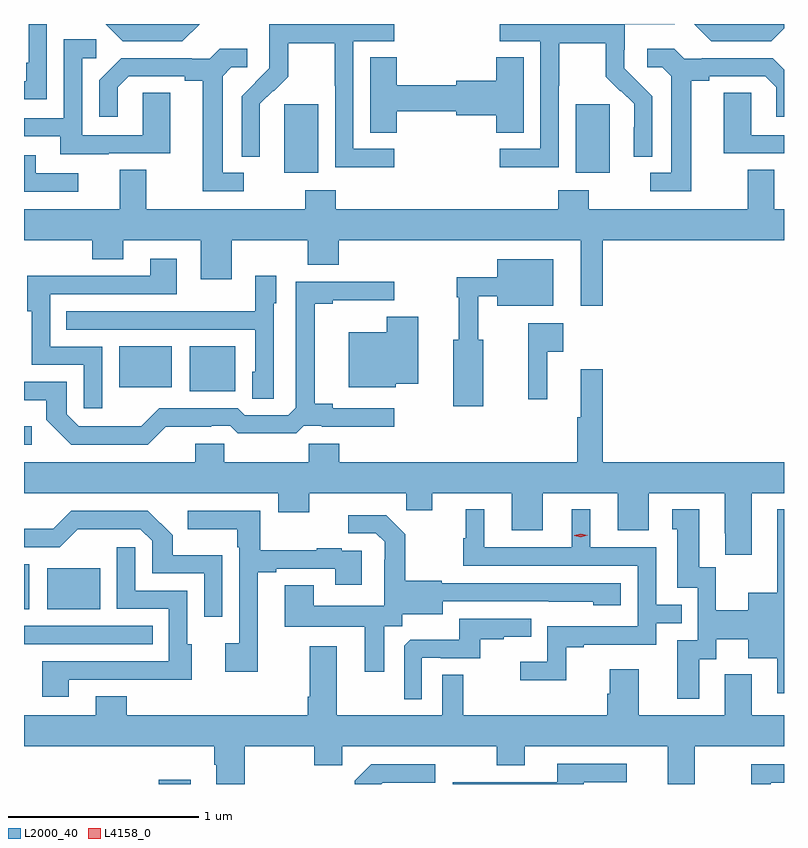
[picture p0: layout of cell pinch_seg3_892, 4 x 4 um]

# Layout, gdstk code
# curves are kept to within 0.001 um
import gdstk
lib = gdstk.Library(unit=1e-6, precision=1e-09)
def R(c, l, rs):  # rectangles x0, y0, x1, y1
    for r in rs: c.add(gdstk.rectangle(r[:2], r[2:], *l))
def P(c, l, *ps):  # polygons
    for p in ps: c.add(gdstk.Polygon(p, *l))
L2000_40 = (2000, 40)
L4158_0 = (4158, 0)

pinch_seg3_892 = lib.new_cell('pinch_seg3_892')
R(pinch_seg3_892, L2000_40, [(855.992,694.058,856.159,694.081), (855.282,694.794,855.959,694.89), (855.282,694.979,855.31,695.215), (855.404,694.979,855.682,695.194), (855.282,695.844,855.322,695.941), (856.154,696.125,856.393,696.361), (855.782,696.146,856.06,696.361), (856.652,697.274,856.831,697.635), (858.185,697.274,858.364,697.635)])
P(pinch_seg3_892, L2000_40, [(857.23,697.401),(857.016,697.401),(857.016,697.968),(857.23,697.968),(857.23,698.058),(856.309,698.058),(856.572,698.057),(856.572,697.923),(856.574,697.923),(856.574,697.826),(856.428,697.678),(856.428,697.36),(856.524,697.36),(856.523,697.637),(856.593,697.707),(856.596,697.704),(856.673,697.781),(856.673,697.956),(856.918,697.956),(856.918,697.732),(856.92,697.732),(856.92,697.303),(857.23,697.303)],
  [(856.206,698.058),(855.711,698.058),(855.801,697.968),(856.116,697.968)],
  [(855.402,698.058),(855.306,698.058),(855.306,697.855),(855.293,697.855),(855.293,697.758),(855.282,697.758),(855.282,697.662),(855.402,697.662)],
  [(858.096,697.732),(858.099,697.732),(858.099,697.956),(858.343,697.956),(858.343,697.781),(858.42,697.704),(858.423,697.707),(858.494,697.637),(858.494,697.514),(858.492,697.514),(858.492,697.36),(858.588,697.36),(858.588,697.678),(858.442,697.826),(858.442,697.923),(858.444,697.923),(858.444,698.057),(858.707,698.058),(857.787,698.058),(857.787,697.968),(858,697.968),(858,697.401),(857.787,697.401),(857.787,697.303),(858.096,697.303)],
  [(859.282,698.035),(859.282,698.058),(858.81,698.058),(858.9,697.968),(859.215,697.968)],
  [(855.727,697.377),(856.051,697.377),(856.051,697.697),(855.906,697.697),(855.906,697.473),(855.588,697.473),(855.588,697.878),(855.661,697.878),(855.661,697.979),(855.492,697.979),(855.492,697.563),(855.282,697.563),(855.282,697.467),(855.473,697.467),(855.473,697.373),(855.727,697.373)],
  [(858.793,697.76),(858.889,697.76),(858.889,697.782),(859.184,697.782),(859.241,697.725),(859.241,697.569),(859.282,697.569),(859.282,697.818),(859.222,697.878),(858.85,697.878),(858.85,697.875),(858.756,697.875),(858.704,697.927),(858.561,697.927),(858.561,697.83),(858.642,697.83),(858.689,697.783),(858.689,697.275),(858.579,697.275),(858.579,697.179),(858.793,697.179)],
  [(856.438,697.275),(856.327,697.275),(856.327,697.783),(856.374,697.83),(856.456,697.83),(856.456,697.927),(856.312,697.927),(856.26,697.875),(856.166,697.875),(856.166,697.878),(855.794,697.878),(855.678,697.762),(855.678,697.569),(855.775,697.569),(855.775,697.725),(855.832,697.782),(856.127,697.782),(856.127,697.76),(856.223,697.76),(856.223,697.179),(856.438,697.179)],
  [(857.244,697.6),(857.558,697.6),(857.558,697.577),(857.768,697.577),(857.768,697.486),(857.911,697.486),(857.911,697.883),(857.768,697.883),(857.768,697.76),(857.558,697.76),(857.558,697.736),(857.244,697.736),(857.244,697.883),(857.105,697.883),(857.105,697.486),(857.244,697.486)],
  [(859.282,697.473),(859.11,697.473),(859.11,697.697),(858.965,697.697),(858.965,697.377),(859.282,697.377)],
  [(855.568,697.272),(855.343,697.272),(855.343,697.368),(855.282,697.368),(855.282,697.176),(855.568,697.176)],
  [(858.329,696.92),(859.282,696.92),(859.282,697.084),(859.231,697.084),(859.231,697.292),(859.091,697.292),(859.091,697.084),(858.255,697.084),(858.255,697.183),(858.095,697.183),(858.095,697.084),(856.922,697.084),(856.922,697.183),(856.762,697.183),(856.762,697.084),(855.925,697.084),(855.925,697.292),(855.785,697.292),(855.785,697.084),(855.282,697.084),(855.282,696.92),(855.641,696.92),(855.641,696.821),(855.805,696.821),(855.805,696.92),(856.211,696.92),(856.211,696.714),(856.375,696.714),(856.375,696.92),(856.775,696.92),(856.775,696.792),(856.939,696.792),(856.939,696.92),(858.212,696.92),(858.212,696.576),(858.329,696.576)],
  [(855.693,696.36),(855.42,696.36),(855.42,696.636),(856.087,696.636),(856.087,696.823),(855.947,696.823),(855.947,696.732),(855.517,696.732),(855.517,696.734),(855.299,696.734),(855.299,696.546),(855.324,696.546),(855.324,696.264),(855.597,696.264),(855.597,696.036),(855.693,696.036)],
  [(857.698,696.397),(857.672,696.397),(857.672,696.625),(857.774,696.625),(857.774,696.575),(858.067,696.575),(858.067,696.82),(857.774,696.82),(857.774,696.725),(857.559,696.725),(857.559,696.62),(857.57,696.62),(857.57,696.397),(857.54,696.397),(857.54,696.045),(857.698,696.045)],
  [(856.596,696.588),(856.609,696.588),(856.609,696.733),(856.5,696.733),(856.5,696.547),(856.183,696.547),(856.183,696.546),(855.505,696.546),(855.505,696.45),(856.5,696.45),(856.5,696.228),(856.484,696.228),(856.484,696.085),(856.596,696.085)],
  [(856.028,695.939),(856.268,695.939),(856.268,695.943),(856.368,695.943),(856.408,695.904),(856.715,695.904),(856.755,695.943),(856.849,695.943),(856.849,695.939),(857.23,695.939),(857.23,696.036),(856.906,696.036),(856.906,696.059),(856.811,696.059),(856.811,696.586),(856.906,696.586),(856.906,696.605),(857.23,696.605),(857.23,696.702),(856.713,696.702),(856.713,696.039),(856.674,696),(856.443,696),(856.407,696.036),(855.993,696.036),(855.899,695.942),(855.794,695.942),(855.794,695.94),(855.57,695.94),(855.507,696.003),(855.507,696.174),(855.282,696.174),(855.282,696.077),(855.4,696.077),(855.4,695.975),(855.53,695.844),(855.933,695.844)],
  [(857.238,696.164),(857.356,696.164),(857.356,696.517),(857.191,696.517),(857.191,696.436),(856.991,696.436),(856.991,696.146),(857.238,696.146)],
  [(858.035,696.332),(858.121,696.332),(858.121,696.484),(857.935,696.484),(857.935,696.084),(858.035,696.084)],
  [(858.212,696.241),(858.212,695.988),(858.193,695.988),(858.193,695.752),(856.94,695.752),(856.94,695.85),(856.78,695.85),(856.78,695.752),(856.335,695.752),(856.335,695.85),(856.184,695.85),(856.184,695.752),(855.282,695.752),(855.282,695.588),(856.619,695.588),(856.619,695.489),(856.783,695.489),(856.783,695.588),(857.293,695.588),(857.293,695.498),(857.431,695.498),(857.431,695.588),(857.849,695.588),(857.849,695.394),(858.013,695.394),(858.013,695.588),(858.407,695.588),(858.407,695.394),(858.571,695.394),(858.571,695.588),(858.971,695.588),(858.971,695.377),(858.972,695.377),(858.972,695.265),(859.111,695.265),(859.111,695.588),(859.282,695.588),(859.282,695.752),(858.329,695.752),(858.329,696.241)],
  [(858.135,694.779),(858.229,694.779),(858.229,694.791),(858.609,694.791),(858.609,694.905),(858.743,694.905),(858.743,695.001),(858.609,695.001),(858.609,695.304),(858.262,695.304),(858.262,695.503),(858.164,695.503),(858.164,695.304),(857.704,695.304),(857.704,695.503),(857.606,695.503),(857.606,695.352),(857.595,695.352),(857.595,695.208),(858.513,695.208),(858.513,694.887),(858.036,694.887),(858.036,694.702),(857.895,694.702),(857.895,694.604),(858.135,694.604)],
  [(858.835,694.714),(858.925,694.714),(858.925,694.82),(859.094,694.82),(859.094,694.721),(859.247,694.721),(859.247,694.536),(859.282,694.536),(859.282,695.503),(859.247,695.503),(859.247,695.065),(859.094,695.065),(859.094,694.972),(858.924,694.972),(858.924,695.199),(858.835,695.199),(858.835,695.503),(858.695,695.503),(858.695,695.4),(858.719,695.4),(858.719,695.091),(858.828,695.091),(858.828,694.815),(858.719,694.815),(858.719,694.506),(858.835,694.506)],
  [(856.513,695.172),(856.609,695.172),(856.609,695.19),(856.919,695.19),(856.919,695.106),(857.059,695.106),(857.059,695.286),(856.955,695.286),(856.955,695.299),(856.823,695.299),(856.823,695.288),(856.525,695.288),(856.525,695.496),(856.143,695.496),(856.143,695.399),(856.404,695.399),(856.404,695.303),(856.416,695.303),(856.416,694.798),(856.341,694.798),(856.341,694.65),(856.513,694.65)],
  [(856.326,695.263),(856.065,695.263),(856.065,695.366),(855.934,695.496),(855.531,695.496),(855.437,695.402),(855.282,695.402),(855.282,695.304),(855.471,695.304),(855.566,695.399),(855.894,695.4),(855.957,695.337),(855.957,695.166),(856.23,695.166),(856.23,694.938),(856.326,694.938)],
  [(857.179,694.888),(857.274,694.888),(857.274,694.952),(857.485,694.952),(857.485,695.019),(858.279,695.018),(858.279,695),(858.424,695),(858.424,695.115),(857.481,695.115),(857.481,695.128),(857.289,695.128),(857.289,695.373),(857.189,695.473),(856.989,695.473),(856.989,695.379),(857.133,695.379),(857.18,695.332),(857.18,695.237),(857.178,695.237),(857.178,694.996),(856.807,694.996),(856.807,695.105),(856.655,695.105),(856.655,694.886),(857.075,694.886),(857.075,694.65),(857.179,694.65)],
  [(855.517,694.608),(855.947,694.608),(855.947,694.607),(856.165,694.607),(856.165,694.794),(856.14,694.794),(856.14,695.076),(855.867,695.076),(855.867,695.305),(855.771,695.305),(855.771,694.98),(856.044,694.98),(856.044,694.704),(855.377,694.704),(855.377,694.518),(855.517,694.518)],
  [(857.376,694.722),(857.476,694.722),(857.476,694.719),(857.684,694.719),(857.684,694.821),(857.807,694.821),(857.807,694.832),(857.951,694.832),(857.951,694.929),(857.574,694.929),(857.574,694.817),(857.315,694.817),(857.283,694.785),(857.283,694.505),(857.376,694.505)],
  [(856.443,694.256),(856.81,694.256),(856.81,694.157),(856.956,694.157),(856.956,694.256),(857.77,694.256),(857.77,694.157),(857.917,694.157),(857.917,694.256),(858.671,694.256),(858.671,694.058),(858.811,694.058),(858.811,694.256),(859.282,694.256),(859.282,694.42),(859.111,694.42),(859.111,694.636),(858.971,694.636),(858.971,694.42),(858.517,694.42),(858.517,694.663),(858.365,694.663),(858.365,694.533),(858.353,694.533),(858.353,694.42),(857.593,694.42),(857.593,694.634),(857.484,694.634),(857.484,694.42),(856.927,694.42),(856.927,694.783),(856.787,694.783),(856.787,694.516),(856.775,694.516),(856.775,694.42),(855.823,694.42),(855.823,694.519),(855.659,694.519),(855.659,694.42),(855.282,694.42),(855.282,694.256),(856.283,694.256),(856.283,694.16),(856.295,694.16),(856.295,694.058),(856.443,694.058)],
  [(858.229,694.068),(858.454,694.068),(858.454,694.164),(858.089,694.164),(858.089,694.068),(857.538,694.068),(857.538,694.058),(858.229,694.058)],
  [(859.213,694.065),(859.282,694.065),(859.282,694.161),(859.109,694.161),(859.109,694.058),(859.213,694.058)],
  [(857.169,694.065),(857.446,694.065),(857.446,694.161),(857.109,694.161),(857.022,694.074),(857.022,694.058),(857.162,694.058)])
P(pinch_seg3_892, L4158_0, [(858.213,695.356),(858.177,695.365),(858.177,695.366),(858.177,695.366),(858.213,695.376),(858.249,695.367),(858.249,695.367),(858.249,695.367)])

lib.write_gds('pinch_seg3_892.gds')
